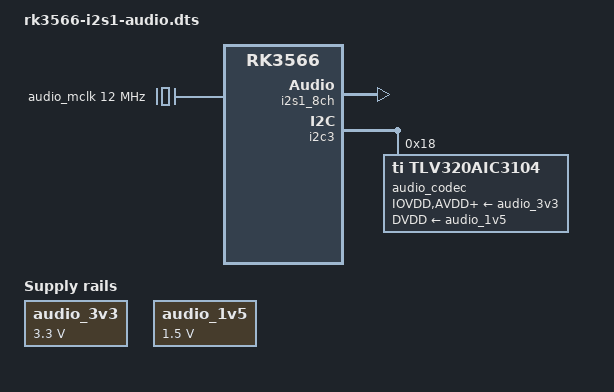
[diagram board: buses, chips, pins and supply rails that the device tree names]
/dts-v1/;
/plugin/;

/* LubanCat Zero: BCLK=11, WCLK=15, DIN=29, DOUT=26 (physical pins).
 * The codec has its own 12 MHz oscillator; never drive that MCLK net.
 */
/ {
    compatible = "rockchip,rk3566";

    fragment@0 {
        target = <&i2s1_8ch>;
        __overlay__ {
            status = "okay";
            /* Both directions use TX BCLK/LRCK; RX clock pins are unwired. */
            rockchip,clk-trcm = <1>;
            pinctrl-names = "default";
            pinctrl-0 = <&i2s1m0_sclktx &i2s1m0_lrcktx
                         &i2s1m0_sdo0 &i2s1m0_sdi0>;
        };
    };

    fragment@1 {
        target-path = "/";
        __overlay__ {
            audio_mclk: audio-mclk {
                compatible = "fixed-clock";
                #clock-cells = <0>;
                clock-frequency = <12000000>;
            };
            audio_3v3: audio-supply-3v3 {
                compatible = "regulator-fixed";
                regulator-name = "audio-3v3";
                regulator-min-microvolt = <3300000>;
                regulator-max-microvolt = <3300000>;
                regulator-always-on;
            };
            audio_1v5: audio-supply-1v5 {
                compatible = "regulator-fixed";
                regulator-name = "audio-1v5";
                regulator-min-microvolt = <1500000>;
                regulator-max-microvolt = <1500000>;
                regulator-always-on;
            };
        };
    };

    fragment@2 {
        target = <&i2c3>;
        __overlay__ {
            #address-cells = <1>;
            #size-cells = <0>;
            audio_codec: codec@18 {
                compatible = "ti,tlv320aic3104";
                reg = <0x18>;
                #sound-dai-cells = <0>;
                clocks = <&audio_mclk>;
                clock-names = "mclk";
                IOVDD-supply = <&audio_3v3>;
                DVDD-supply = <&audio_1v5>;
                AVDD-supply = <&audio_3v3>;
                DRVDD-supply = <&audio_3v3>;
                /* 1.35 V output common mode with the board's 1.5 V core. */
                ai3x-ocmv = <0>;
                status = "okay";
            };
        };
    };

    fragment@3 {
        target-path = "/";
        __overlay__ {
            sound-audio {
                compatible = "simple-audio-card";
                simple-audio-card,name = "aic3104";
                simple-audio-card,format = "i2s";
                simple-audio-card,bitclock-master = <&audio_cpu>;
                simple-audio-card,frame-master = <&audio_cpu>;
                audio_cpu: simple-audio-card,cpu {
                    sound-dai = <&i2s1_8ch>;
                    system-clock-frequency = <12288000>;
                };
                simple-audio-card,codec {
                    sound-dai = <&audio_codec>;
                    system-clock-frequency = <12000000>;
                };
            };
        };
    };
};
